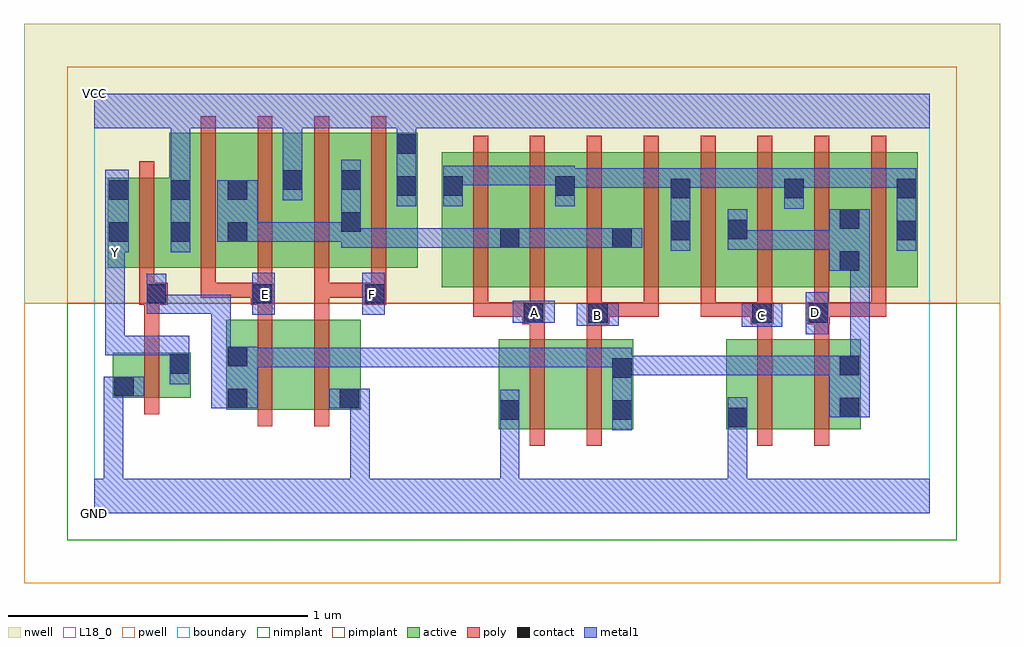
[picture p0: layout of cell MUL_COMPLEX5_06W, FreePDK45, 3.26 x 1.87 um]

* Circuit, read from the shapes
.subckt MUL_COMPLEX5_06W A B C D E F GND VCC Y
M1 Y n1 GND VSUBS nfet w=0.15u l=0.05u
M2 n2 E n1 VSUBS nfet w=0.3u l=0.05u
M3 GND F n2 VSUBS nfet w=0.3u l=0.05u
M4 n3 A GND VSUBS nfet w=0.3u l=0.05u
M5 n1 B n3 VSUBS nfet w=0.3u l=0.05u
M6 n4 C GND VSUBS nfet w=0.3u l=0.05u
M7 n1 D n4 VSUBS nfet w=0.3u l=0.05u
M8 VCC n1 Y n5 pfet w=0.3u l=0.05u
M9 n6 E VCC n5 pfet w=0.45u l=0.05u m=2
M10 n6 F VCC n5 pfet w=0.45u l=0.05u m=2
M11 n6 A n7 n5 pfet w=0.45u l=0.05u m=2
M12 n6 B n7 n5 pfet w=0.45u l=0.05u m=2
M13 n1 C n7 n5 pfet w=0.45u l=0.05u m=2
M14 n1 D n7 n5 pfet w=0.45u l=0.05u m=2
.ends

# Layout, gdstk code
import gdstk
lib = gdstk.Library(unit=1e-6, precision=1e-09)
def R(c, l, rs):  # rectangles x0, y0, x1, y1
    for r in rs: c.add(gdstk.rectangle(r[:2], r[2:], *l))
def A(c, l, x, y, w, h, nx, ny, dx, dy):  # array of equal rectangles
    R(c, l, [(x+i*dx, y+j*dy, x+i*dx+w, y+j*dy+h) for i in range(nx) for j in range(ny)])
active = (1, 0)
pwell = (2, 0)
nwell = (3, 0)
nimplant = (4, 0)
pimplant = (5, 0)
poly = (9, 0)
contact = (10, 0)
metal1 = (11, 0)
L18_0 = (18, 0)
boundary = (235, 0)

mul_complex5_06w = lib.new_cell('MUL_COMPLEX5_06W')
R(mul_complex5_06w, active, [(1.35,0.28,1.575,0.58), (1.35,0.28,1.425,0.58), (1.575,0.28,1.8,0.58), (1.725,0.28,1.8,0.58), (2.11,0.28,2.335,0.58), (2.11,0.28,2.185,0.58), (2.335,0.28,2.56,0.58), (2.485,0.315,2.56,0.58), (0.44,0.345,0.665,0.645), (0.44,0.345,0.515,0.645), (0.665,0.345,0.89,0.645), (0.815,0.345,0.89,0.645), (0.062,0.385,0.137,0.535), (0.062,0.385,0.322,0.535), (0.247,0.385,0.322,0.535), (1.16,0.755,1.235,1.2), (1.16,0.755,1.425,1.205), (1.35,0.755,1.425,1.07), (1.35,0.755,1.61,1.205), (1.535,0.755,1.61,1.2), (1.535,0.755,1.8,1.205), (1.725,0.755,1.8,1.07), (1.725,0.755,1.995,1.205), (1.92,0.755,1.995,1.2), (1.92,0.755,2.185,1.205), (2.11,0.755,2.375,1.205), (2.11,0.755,2.185,1.07), (2.3,0.755,2.375,1.2), (2.3,0.755,2.56,1.205), (2.485,0.755,2.75,1.205), (2.485,0.755,2.56,1.07), (2.675,0.755,2.75,1.2), (0.045,0.82,0.12,1.12), (0.045,0.82,0.325,1.12), (0.25,0.82,0.515,1.27), (0.25,0.82,0.325,1.27), (0.44,0.82,0.7,1.27), (0.44,0.82,0.515,1.2), (0.625,0.82,0.895,1.27), (0.625,0.82,0.7,1.27), (0.82,0.82,1.08,1.27), (0.82,0.82,0.895,1.2), (1.005,0.82,1.08,1.27)])
R(mul_complex5_06w, pwell, [(-0.235,-0.235,3.025,0.7)])
R(mul_complex5_06w, nwell, [(-0.235,0.7,3.025,1.635)])
R(mul_complex5_06w, nimplant, [(-0.09,-0.09,2.88,0.7)])
R(mul_complex5_06w, pimplant, [(-0.09,0.7,2.88,1.49)])
A(mul_complex5_06w, poly, 1.265, 0.655, 0.05, 0.095, 8, 1, 0.19, 0)
A(mul_complex5_06w, poly, 1.265, 0.7, 0.05, 0.56, 8, 1, 0.19, 0)
A(mul_complex5_06w, poly, 0.355, 0.72, 0.05, 0.095, 4, 1, 0.19, 0)
A(mul_complex5_06w, poly, 0.355, 0.765, 0.05, 0.56, 4, 1, 0.19, 0)
R(mul_complex5_06w, poly, [(1.455,0.225,1.505,0.635), (1.645,0.225,1.695,0.635), (2.215,0.225,2.265,0.635), (2.405,0.225,2.455,0.635), (0.545,0.29,0.595,0.7), (0.735,0.29,0.785,0.7), (0.167,0.33,0.217,0.59), (0.167,0.54,0.217,0.745), (1.455,0.585,1.505,0.68), (1.645,0.585,1.695,0.68), (2.215,0.585,2.265,0.68), (2.405,0.585,2.455,0.68), (1.43,0.63,1.505,0.705), (1.645,0.63,1.72,0.705), (2.192,0.63,2.267,0.705), (2.382,0.63,2.457,0.705), (0.545,0.65,0.595,0.745), (0.735,0.65,0.785,0.77), (1.265,0.655,1.315,0.705), (1.265,0.655,1.315,0.705), (1.265,0.655,1.315,0.705), (1.265,0.655,1.48,0.705), (1.67,0.655,1.72,0.705), (1.67,0.655,1.72,0.705), (1.67,0.655,1.885,0.705), (1.835,0.655,1.885,0.705), (2.025,0.655,2.075,0.705), (2.025,0.655,2.075,0.705), (2.025,0.655,2.075,0.705), (2.025,0.655,2.242,0.705), (2.407,0.655,2.645,0.705), (2.407,0.655,2.457,0.705), (2.407,0.655,2.457,0.705), (2.595,0.655,2.645,0.705), (0.15,0.695,0.245,0.77), (0.522,0.695,0.597,0.77), (0.9,0.695,0.975,0.77), (0.15,0.72,0.2,0.815), (0.355,0.72,0.405,0.77), (0.355,0.72,0.572,0.77), (0.522,0.72,0.572,0.77), (0.522,0.72,0.572,0.77), (0.735,0.72,0.785,0.77), (0.735,0.72,0.785,0.77), (0.735,0.72,0.785,0.77), (0.735,0.72,0.95,0.77), (0.15,0.765,0.2,1.175)])
R(mul_complex5_06w, contact, [(2.115,0.287,2.18,0.352), (1.355,0.312,1.42,0.377), (1.73,0.312,1.795,0.377), (2.49,0.32,2.555,0.385), (0.445,0.35,0.51,0.415), (0.82,0.35,0.885,0.415), (0.067,0.39,0.132,0.455), (1.73,0.452,1.795,0.517), (2.49,0.46,2.555,0.525), (0.252,0.465,0.317,0.53), (0.445,0.49,0.51,0.555), (1.435,0.635,1.5,0.7), (1.65,0.635,1.715,0.7), (2.197,0.635,2.262,0.7), (2.387,0.635,2.452,0.7), (0.175,0.7,0.24,0.765), (0.527,0.7,0.592,0.765), (0.905,0.7,0.97,0.765), (2.49,0.81,2.555,0.875), (1.355,0.887,1.42,0.952), (1.73,0.887,1.795,0.952), (0.05,0.907,0.115,0.972), (0.255,0.907,0.32,0.972), (0.445,0.907,0.51,0.972), (1.925,0.912,1.99,0.977), (2.68,0.912,2.745,0.977), (2.115,0.915,2.18,0.98), (0.825,0.94,0.89,1.005), (2.49,0.95,2.555,1.015), (0.05,1.047,0.115,1.112), (0.255,1.047,0.32,1.112), (0.445,1.047,0.51,1.112), (1.925,1.052,1.99,1.117), (2.305,1.052,2.37,1.117), (2.68,1.052,2.745,1.117), (1.01,1.06,1.075,1.125), (1.165,1.06,1.23,1.125), (1.54,1.06,1.605,1.125), (0.63,1.08,0.695,1.145), (0.825,1.08,0.89,1.145), (1.01,1.2,1.075,1.265)])
R(mul_complex5_06w, metal1, [(0,0,2.79,0.115), (0.032,0.05,0.097,0.115), (0.032,0.05,0.097,0.115), (0.032,0.05,0.097,0.455), (0.855,0.05,0.92,0.415), (1.355,0.05,1.42,0.342), (2.115,0.05,2.18,0.115), (2.115,0.05,2.18,0.115), (2.115,0.05,2.18,0.115), (2.115,0.05,2.18,0.115), (2.115,0.05,2.18,0.317), (2.115,0.252,2.18,0.387), (1.355,0.277,1.42,0.342), (1.355,0.277,1.42,0.342), (1.355,0.277,1.42,0.342), (1.355,0.277,1.42,0.342), (1.355,0.277,1.42,0.412), (1.73,0.277,1.795,0.552), (2.455,0.32,2.59,0.525), (0.39,0.35,0.545,0.555), (0.785,0.35,0.92,0.415), (0.855,0.35,0.92,0.415), (0.855,0.35,0.92,0.415), (0.855,0.35,0.92,0.415), (0.855,0.35,0.92,0.415), (0.032,0.39,0.097,0.455), (0.032,0.39,0.097,0.455), (0.032,0.39,0.097,0.455), (0.032,0.39,0.097,0.455), (0.032,0.39,0.167,0.455), (0.252,0.43,0.317,0.592), (1.73,0.46,1.795,0.525), (1.73,0.46,1.795,0.525), (1.73,0.46,1.932,0.525), (1.867,0.46,1.932,0.525), (1.867,0.46,1.932,0.525), (1.867,0.46,1.932,0.525), (1.867,0.46,2.232,0.525), (2.167,0.46,2.232,0.525), (2.167,0.46,2.232,0.525), (2.167,0.46,2.232,0.525), (2.167,0.46,2.382,0.525), (2.317,0.46,2.382,0.525), (2.317,0.46,2.52,0.525), (2.455,0.46,2.52,0.525), (2.455,0.46,2.52,0.525), (2.525,0.46,2.59,0.875), (0.48,0.487,0.545,0.552), (0.48,0.487,0.545,0.552), (0.48,0.487,0.712,0.552), (0.647,0.487,0.712,0.552), (0.647,0.487,0.712,0.552), (0.647,0.487,0.712,0.552), (0.647,0.487,0.937,0.552), (0.872,0.487,0.937,0.552), (0.872,0.487,0.937,0.552), (0.872,0.487,0.937,0.552), (0.872,0.487,1.092,0.552), (1.027,0.487,1.092,0.552), (1.027,0.487,1.092,0.552), (1.027,0.487,1.095,0.552), (1.03,0.487,1.23,0.552), (1.165,0.487,1.23,0.552), (1.165,0.487,1.367,0.552), (1.302,0.487,1.367,0.552), (1.302,0.487,1.367,0.552), (1.302,0.487,1.367,0.552), (1.302,0.487,1.622,0.552), (1.557,0.487,1.622,0.552), (1.557,0.487,1.622,0.552), (1.557,0.487,1.622,0.552), (1.557,0.487,1.795,0.552), (0.39,0.49,0.455,0.73), (0.037,0.527,0.102,0.592), (0.037,0.527,0.24,0.592), (0.037,0.527,0.102,0.867), (0.175,0.527,0.24,0.592), (0.175,0.527,0.317,0.592), (2.377,0.597,2.452,0.737), (2.162,0.622,2.297,0.7), (1.612,0.625,1.752,0.7), (1.397,0.635,1.537,0.71), (0.527,0.662,0.602,0.802), (0.895,0.662,0.97,0.802), (0.175,0.665,0.24,0.73), (0.175,0.665,0.24,0.73), (0.175,0.665,0.24,0.8), (0.175,0.665,0.377,0.73), (0.312,0.665,0.377,0.73), (0.312,0.665,0.455,0.73), (0.39,0.665,0.455,0.73), (0.037,0.802,0.102,0.937), (2.455,0.81,2.59,1.015), (2.525,0.81,2.59,0.875), (2.525,0.81,2.59,0.875), (0.037,0.872,0.102,0.937), (0.037,0.872,0.115,1.147), (0.255,0.872,0.32,1.147), (1.925,0.877,1.99,1.152), (2.68,0.877,2.745,1.152), (2.115,0.88,2.18,0.945), (2.115,0.88,2.18,0.945), (2.115,0.88,2.18,1.015), (2.115,0.88,2.37,0.945), (2.305,0.88,2.37,0.945), (2.305,0.88,2.52,0.945), (2.455,0.88,2.52,0.945), (2.455,0.88,2.52,0.945), (0.825,0.887,1.092,0.952), (0.825,0.887,0.89,0.97), (1.027,0.887,1.092,0.952), (1.027,0.887,1.092,0.952), (1.027,0.887,1.092,0.952), (1.027,0.887,1.23,0.952), (1.165,0.887,1.23,0.952), (1.165,0.887,1.385,0.952), (1.32,0.887,1.455,0.952), (1.39,0.887,1.455,0.952), (1.39,0.887,1.455,0.952), (1.39,0.887,1.622,0.952), (1.557,0.887,1.622,0.952), (1.557,0.887,1.622,0.952), (1.557,0.887,1.622,0.952), (1.557,0.887,1.76,0.952), (1.695,0.887,1.83,0.952), (0.825,0.905,0.89,0.97), (0.825,0.905,0.89,1.18), (0.41,0.907,0.545,1.112), (0.48,0.907,0.545,0.972), (0.48,0.907,0.545,0.972), (0.48,0.907,0.682,0.972), (0.617,0.907,0.682,0.972), (0.617,0.907,0.682,0.972), (0.617,0.907,0.682,0.972), (0.617,0.907,0.89,0.972), (2.305,1.017,2.37,1.152), (1.01,1.025,1.075,1.3), (1.165,1.025,1.23,1.16), (1.54,1.025,1.605,1.16), (0.63,1.045,0.695,1.18), (0.255,1.082,0.32,1.35), (1.54,1.087,1.605,1.152), (1.54,1.087,1.605,1.152), (1.54,1.087,1.795,1.152), (1.73,1.087,1.795,1.152), (1.73,1.087,1.795,1.152), (1.73,1.087,1.795,1.152), (1.73,1.087,1.99,1.152), (1.925,1.087,1.99,1.152), (1.925,1.087,1.99,1.152), (1.925,1.087,2.232,1.152), (2.167,1.087,2.232,1.152), (2.167,1.087,2.232,1.152), (2.167,1.087,2.232,1.152), (2.167,1.087,2.37,1.152), (2.305,1.087,2.55,1.152), (2.485,1.087,2.55,1.152), (2.485,1.087,2.55,1.152), (2.485,1.087,2.55,1.152), (2.485,1.087,2.745,1.152), (2.68,1.087,2.745,1.152), (2.68,1.087,2.745,1.152), (1.165,1.095,1.23,1.16), (1.165,1.095,1.23,1.16), (1.165,1.095,1.425,1.16), (1.36,1.095,1.425,1.16), (1.36,1.095,1.425,1.16), (1.36,1.095,1.425,1.16), (1.36,1.095,1.605,1.16), (0.63,1.115,0.695,1.35), (1.01,1.235,1.075,1.35), (0,1.285,2.79,1.4)])
R(mul_complex5_06w, L18_0, [(0,0,2.79,0.115), (0.032,0.05,0.097,0.115), (0.032,0.05,0.097,0.115), (0.032,0.05,0.097,0.455), (0.855,0.05,0.92,0.415), (1.355,0.05,1.42,0.342), (2.115,0.05,2.18,0.115), (2.115,0.05,2.18,0.115), (2.115,0.05,2.18,0.115), (2.115,0.05,2.18,0.115), (2.115,0.05,2.18,0.317), (2.115,0.252,2.18,0.387), (1.355,0.277,1.42,0.342), (1.355,0.277,1.42,0.342), (1.355,0.277,1.42,0.342), (1.355,0.277,1.42,0.342), (1.355,0.277,1.42,0.412), (0.785,0.35,0.92,0.415), (0.855,0.35,0.92,0.415), (0.855,0.35,0.92,0.415), (0.855,0.35,0.92,0.415), (0.855,0.35,0.92,0.415), (0.032,0.39,0.097,0.455), (0.032,0.39,0.097,0.455), (0.032,0.39,0.097,0.455), (0.032,0.39,0.097,0.455), (0.032,0.39,0.167,0.455), (0.252,0.43,0.317,0.592), (0.037,0.527,0.102,0.592), (0.037,0.527,0.102,0.867), (0.037,0.527,0.24,0.592), (0.175,0.527,0.24,0.592), (0.175,0.527,0.317,0.592), (2.377,0.597,2.452,0.737), (2.162,0.622,2.297,0.7), (1.612,0.625,1.752,0.7), (1.647,0.627,1.712,0.692), (2.197,0.627,2.262,0.692), (1.397,0.635,1.537,0.71), (1.437,0.637,1.502,0.702), (2.377,0.637,2.442,0.702), (0.527,0.662,0.602,0.802), (0.895,0.662,0.97,0.802), (0.537,0.697,0.602,0.762), (0.897,0.697,0.962,0.762), (0.037,0.802,0.102,0.937), (0.037,0.837,0.102,0.902), (0.037,0.872,0.102,0.937), (0.037,0.872,0.115,1.147), (0.255,0.872,0.32,1.147), (1.01,1.025,1.075,1.3), (0.63,1.045,0.695,1.18), (0.255,1.082,0.32,1.35), (0.63,1.115,0.695,1.35), (1.01,1.235,1.075,1.35), (0,1.285,2.79,1.4)])
R(mul_complex5_06w, boundary, [(0,0,2.79,1.4)])
mul_complex5_06w.add(gdstk.Label('A', (1.47,0.67), layer=11, texttype=0))
mul_complex5_06w.add(gdstk.Label('B', (1.68,0.66), layer=11, texttype=0))
mul_complex5_06w.add(gdstk.Label('C', (2.23,0.66), layer=11, texttype=0))
mul_complex5_06w.add(gdstk.Label('D', (2.41,0.67), layer=11, texttype=0))
mul_complex5_06w.add(gdstk.Label('E', (0.57,0.73), layer=11, texttype=0))
mul_complex5_06w.add(gdstk.Label('F', (0.93,0.73), layer=11, texttype=0))
mul_complex5_06w.add(gdstk.Label('Y', (0.07,0.87), layer=11, texttype=0))
mul_complex5_06w.add(gdstk.Label('VCC', (0,1.4), layer=11, texttype=0))
mul_complex5_06w.add(gdstk.Label('GND', (0,0), layer=11, texttype=0))

lib.write_gds('MUL_COMPLEX5_06W.gds')
